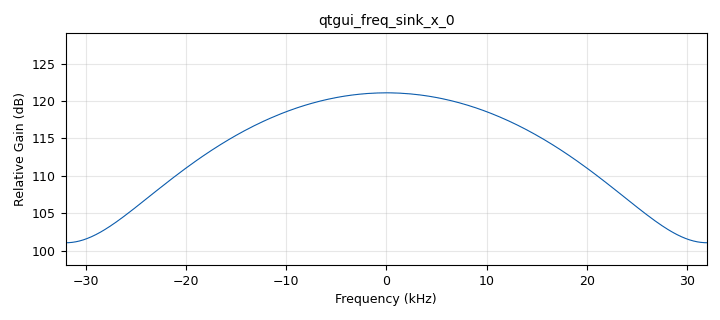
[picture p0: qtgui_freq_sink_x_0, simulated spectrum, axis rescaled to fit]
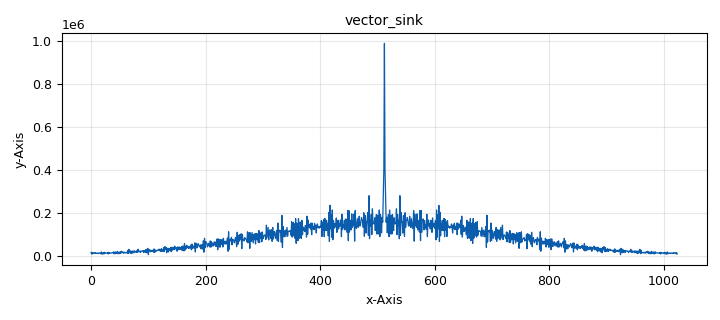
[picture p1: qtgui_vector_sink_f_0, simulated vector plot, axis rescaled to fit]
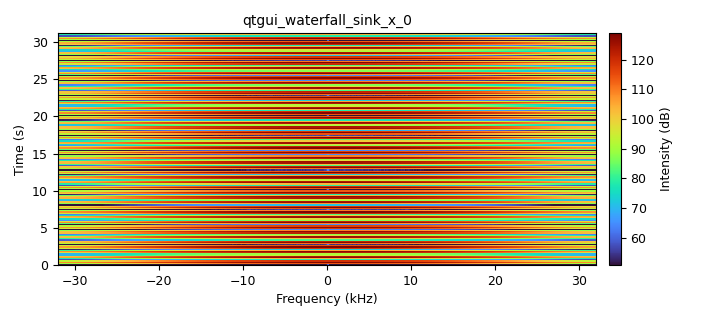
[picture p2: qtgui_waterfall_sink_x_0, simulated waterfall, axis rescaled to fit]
options:
  parameters:
    generate_options: qt_gui
    id: top_block
    output_language: python
    title: Passive Radar
  states: {}

blocks:
- name: samp_rate
  id: variable
  parameters:
    value: '64000'
  states: {}
- name: uirange
  id: variable_qtgui_range
  parameters:
    orient: Qt.Horizontal
    rangeType: int
    start: '-200'
    step: '1'
    stop: '200'
    value: '0'
  states: {}
- name: analog_fastnoise_source_x_1
  id: analog_fastnoise_source_x
  parameters:
    amp: '3'
    noise_type: analog.GR_GAUSSIAN
    samples: '8192'
    seed: '2'
    type: complex
  states: {}
- name: analog_sig_source_x_0
  id: analog_sig_source_x
  parameters:
    amp: '5'
    freq: '10'
    offset: '-100'
    phase: '0'
    samp_rate: samp_rate
    type: complex
    waveform: analog.GR_COS_WAVE
  states: {}
- name: blocks_add_xx_0
  id: blocks_add_xx
  parameters:
    type: complex
  states: {}
- name: blocks_complex_to_mag_0
  id: blocks_complex_to_mag
  parameters:
    vlen: '1024'
  states: {}
- name: blocks_delay_0
  id: blocks_delay
  parameters:
    delay: uirange
    type: complex
  states: {}
- name: blocks_file_sink_0
  id: blocks_file_sink
  parameters:
    file: signal.dat
    type: float
    vlen: '1024'
  states: {}
- name: blocks_multiply_conjugate_cc_0
  id: blocks_multiply_conjugate_cc
  parameters:
    vlen: '1024'
  states: {}
- name: blocks_stream_to_vector_0
  id: blocks_stream_to_vector
  parameters:
    num_items: '1024'
    type: complex
  states: {}
- name: blocks_stream_to_vector_1
  id: blocks_stream_to_vector
  parameters:
    num_items: '1024'
    type: complex
  states: {}
- name: blocks_throttle_0
  id: blocks_throttle
  parameters:
    samples_per_second: samp_rate
    type: complex
  states: {}
- name: blocks_throttle_1
  id: blocks_throttle
  parameters:
    samples_per_second: samp_rate
    type: complex
  states: {}
- name: blocks_vector_to_stream_0
  id: blocks_vector_to_stream
  parameters:
    num_items: '1024'
    type: complex
  states: {}
- name: blocks_vector_to_stream_1
  id: blocks_vector_to_stream
  parameters:
    num_items: '1024'
    type: complex
  states: {state: disabled}
- name: fft_vxx_0
  id: fft_vxx
  parameters:
    fft_size: '1024'
    forward: 'False'
    shift: 'True'
    type: complex
    window: window.blackmanharris(1024)
  states: {}
- name: fft_vxx_1
  id: fft_vxx
  parameters:
    fft_size: '1024'
    forward: 'False'
    shift: 'True'
    type: complex
    window: window.blackmanharris(1024)
  states: {}
- name: fft_vxx_2
  id: fft_vxx
  parameters:
    fft_size: '1024'
    forward: 'True'
    shift: 'True'
    type: complex
    window: window.blackmanharris(1024)
  states: {}
- name: qtgui_freq_sink_x_0
  id: qtgui_freq_sink_x
  parameters:
    bw: samp_rate
    fc: '0'
    fftsize: '1024'
    type: complex
    wintype: firdes.WIN_BLACKMAN_hARRIS
  states: {}
- name: qtgui_time_sink_x_0
  id: qtgui_time_sink_x
  parameters:
    autoscale: 'True'
    size: '1024'
    srate: samp_rate
    type: complex
  states: {state: disabled}
- name: qtgui_vector_sink_f_0
  id: qtgui_vector_sink_f
  parameters:
    name: '"vector_sink"'
    vlen: '1024'
    x_start: '0'
    x_step: '1.0'
  states: {}
- name: qtgui_waterfall_sink_x_0
  id: qtgui_waterfall_sink_x
  parameters:
    bw: samp_rate
    fc: '0'
    fftsize: '1024'
    int_max: '50'
    int_min: '0'
    type: complex
    update_time: '0.20'
    wintype: firdes.WIN_BLACKMAN_hARRIS
  states: {}

connections:
- [analog_fastnoise_source_x_1, '0', blocks_throttle_0, '0']
- [analog_sig_source_x_0, '0', blocks_throttle_1, '0']
- [blocks_add_xx_0, '0', blocks_delay_0, '0']
- [blocks_add_xx_0, '0', blocks_stream_to_vector_0, '0']
- [blocks_complex_to_mag_0, '0', blocks_file_sink_0, '0']
- [blocks_complex_to_mag_0, '0', qtgui_vector_sink_f_0, '0']
- [blocks_delay_0, '0', blocks_stream_to_vector_1, '0']
- [blocks_multiply_conjugate_cc_0, '0', blocks_vector_to_stream_0, '0']
- [blocks_multiply_conjugate_cc_0, '0', fft_vxx_2, '0']
- [blocks_stream_to_vector_0, '0', fft_vxx_1, '0']
- [blocks_stream_to_vector_1, '0', fft_vxx_0, '0']
- [blocks_throttle_0, '0', blocks_add_xx_0, '0']
- [blocks_throttle_1, '0', blocks_add_xx_0, '1']
- [blocks_vector_to_stream_0, '0', qtgui_freq_sink_x_0, '0']
- [blocks_vector_to_stream_0, '0', qtgui_waterfall_sink_x_0, '0']
- [blocks_vector_to_stream_1, '0', qtgui_time_sink_x_0, '0']
- [fft_vxx_0, '0', blocks_multiply_conjugate_cc_0, '1']
- [fft_vxx_1, '0', blocks_multiply_conjugate_cc_0, '0']
- [fft_vxx_2, '0', blocks_complex_to_mag_0, '0']
- [fft_vxx_2, '0', blocks_vector_to_stream_1, '0']

metadata:
  file_format: 1
